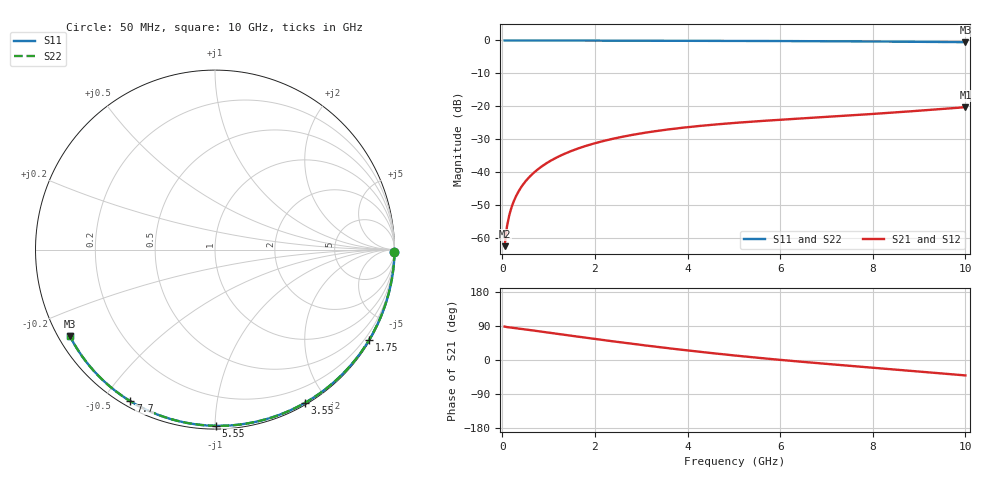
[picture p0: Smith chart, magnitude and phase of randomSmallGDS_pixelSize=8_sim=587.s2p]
! freq	dB(S11)	phase(S11)	dB(S12)	phase(S12)
!  dB(S21)	phase(S21)	dB(S22)	phase(S22)
!S-par simulation data
#  GHz  S  DB  R 50
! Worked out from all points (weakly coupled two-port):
!   200 points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, 50 MHz to 10 GHz, reference 50 ohm
!   highest |S21| = -20.24 dB at 10 GHz (marker M1); lowest = -62.4 dB at 50 MHz (marker M2)
!   lowest |S11| = -0.5 dB at 10 GHz (marker M3), VSWR 32.99, Z = 1.63 - j13.7 ohm
!   |S11| at or under -10 dB: nowhere
!   |S22| runs from -0.5 to 0.0 dB; largest |S21 - S12| = 0
!   S11 on the Smith chart (normalised r, x): 50 MHz: open; 1.75 GHz: 0.03, -3.70; 3.55 GHz: 0.02, -1.74; 5.55 GHz: 0.02, -1.01; 7.7 GHz: 0.02, -0.59; 10 GHz: 0.03, -0.27
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0.05  -0.00 -0.9  -62.39 88.2  -62.39 88.2  -0.00 -0.9
0.1  -0.00 -1.8  -56.47 86.9  -56.47 86.9  -0.00 -1.8
0.15  -0.00 -2.6  -53.04 86.0  -53.04 86.0  -0.00 -2.6
0.2  -0.00 -3.5  -50.59 85.3  -50.59 85.3  -0.00 -3.5
0.25  -0.00 -4.4  -48.69 84.5  -48.69 84.5  -0.00 -4.4
0.35  -0.00 -6.2  -45.81 83.0  -45.81 83.0  -0.00 -6.2
0.5  -0.01 -8.8  -42.75 80.6  -42.75 80.6  -0.01 -8.8
0.7  -0.01 -12.3  -39.87 77.3  -39.87 77.3  -0.01 -12.3
1  -0.02 -17.4  -36.84 72.3  -36.84 72.3  -0.02 -17.4
1.35  -0.03 -23.4  -34.33 66.4  -34.33 66.4  -0.03 -23.4
1.75  -0.04 -30.2  -32.23 59.7  -32.23 59.7  -0.04 -30.2
2.5  -0.06 -42.7  -29.48 47.5  -29.48 47.5  -0.06 -42.7
3.4  -0.08 -57.3  -27.33 33.8  -27.33 33.8  -0.08 -57.3
3.55  -0.09 -59.6  -27.05 31.6  -27.05 31.6  -0.09 -59.6
4.3  -0.11 -71.2  -25.87 21.2  -25.87 21.2  -0.11 -71.2
5.05  -0.14 -82.4  -24.97 11.5  -24.97 11.5  -0.14 -82.4
5.55  -0.16 -89.6  -24.47 5.5  -24.47 5.5  -0.16 -89.6
6.7  -0.22 -105.7  -23.44 -7.2  -23.44 -7.2  -0.22 -105.7
7.7  -0.29 -119.1  -22.56 -17.3  -22.56 -17.3  -0.29 -119.1
8.35  -0.34 -127.7  -21.95 -23.7  -21.95 -23.7  -0.34 -127.7
9.2  -0.43 -138.8  -21.10 -32.3  -21.10 -32.3  -0.43 -138.8
10  -0.53 -149.3  -20.24 -40.8  -20.24 -40.8  -0.53 -149.2
